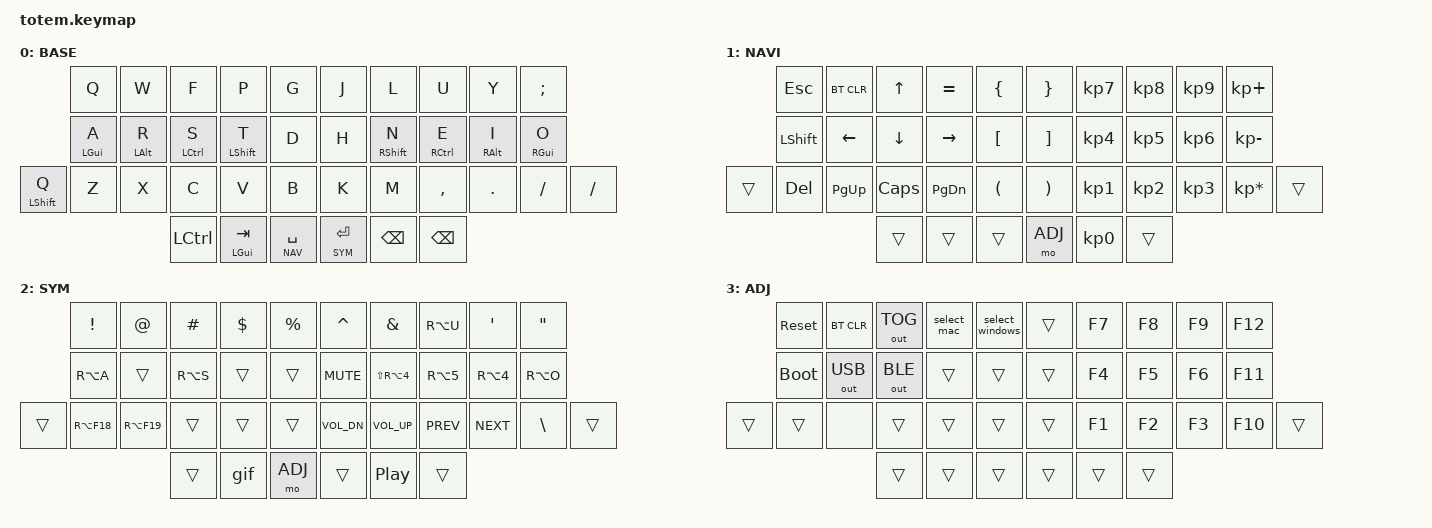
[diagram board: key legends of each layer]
//
//                                                        ▀▀▀▀▀     ▀▀▀▀▀          ▀▀█▀▀
//                                                        ▄▀▀▀▄  ▄  ▄▀▀▀▄  ▄  ▄▀▀▀▄  █  ▄▀▀▀▄
//                                                        █   █  █  █   █  █  █   █  █  █   █
//                                                         ▀▀▀   █   ▀▀▀   █   ▀▀▀   ▀   ▀▀▀
//                                                               █      ▄▄▄█▄▄▄    █   █  
//                                                               ▀      █  █  █     █▄█
//                                                             ▀▀▀▀▀    █  █  █      ▀
//                                                                      ▀  ▀  ▀
//
// ▄▄▄▄▄▄▄▄▄▄▄▄▄▄▄▄▄▄▄▄▄▄▄▄▄▄▄▄▄▄▄▄▄▄▄▄▄▄▄▄▄▄▄▄▄▄▄▄▄▄▄▄▄▄▄▄▄▄▄▄▄▄▄▄▄▄▄▄▄▄▄▄▄▄▄▄▄▄▄▄▄▄▄▄▄▄▄▄▄▄▄▄▄▄▄▄▄▄▄▄▄▄▄▄▄▄▄▄▄▄▄▄▄▄▄▄▄▄▄▄▄▄▄▄▄▄▄▄▄▄▄▄▄▄▄▄▄▄▄▄▄▄▄▄▄▄▄▄▄
       

#include <behaviors.dtsi>
#include <dt-bindings/zmk/keys.h>
#include <dt-bindings/zmk/bt.h>
#include <dt-bindings/zmk/outputs.h>

#define BASE 0
#define NAV  1
#define SYM  2
#define ADJ  3

&mt {
  quick-tap-ms = <100>;
  global-quick-tap;
  flavor = "tap-preferred";
  tapping-term-ms = <170>;
};

/ {
    combos {
        compatible = "zmk,combos";
        combo_esc {
        timeout-ms = <50>;
        key-positions = <0 1>;
        bindings = <&kp ESC>;
        };
        combo_ctrl_adj {
                timeout-ms = <250>;
                key-positions = <9 32>;
                layers = <BASE>;
                slow-release;
                bindings = <&mo ADJ>;
        };
    };

    macros {
        gif: gif {
            label = "giphy";
            compatible = "zmk,behavior-macro";
            #binding-cells = <0>;
            bindings
                = <&macro_press &kp LSHFT>
                , <&macro_tap &kp N2>
                , <&macro_release &kp LSHFT>
                , <&macro_tap &kp G &kp I &kp F>
                ;
        };

                select_mac: select_mac {
                        label = "Select Mac profile";
                        compatible = "zmk,behavior-macro";
                        #binding-cells = <0>;
                        wait-ms = <40>;
                        tap-ms = <40>;
                        bindings = <&macro_tap &kp M &kp A &kp C &kp SPACE &kp P &kp R &kp O &kp F &kp I &kp L &kp E &kp SPACE &kp S &kp E &kp L &kp E &kp C &kp T &kp E &kp D>
                                         , <&macro_tap &bt BT_SEL 0>;
                };

                select_windows: select_windows {
                        label = "Select Windows profile";
                        compatible = "zmk,behavior-macro";
                        #binding-cells = <0>;
                        wait-ms = <40>;
                        tap-ms = <40>;
                        bindings = <&macro_tap &kp W &kp I &kp N &kp D &kp O &kp W &kp S &kp SPACE &kp P &kp R &kp O &kp F &kp I &kp L &kp E &kp SPACE &kp S &kp E &kp L &kp E &kp C &kp T &kp E &kp D>
                                         , <&macro_tap &bt BT_SEL 1>;
                };
    };

        keymap {
                compatible = "zmk,keymap";
// ▄▄▄▄▄▄▄▄▄▄▄▄▄▄▄▄▄▄▄▄▄▄▄▄▄▄▄▄▄▄▄▄▄▄▄▄▄▄▄▄▄▄▄▄▄▄▄▄▄▄▄▄▄▄▄▄▄▄▄▄▄▄▄▄▄▄▄▄▄▄▄▄▄▄▄▄▄▄▄▄▄▄▄▄▄▄▄▄▄▄▄▄▄▄▄▄▄▄▄▄▄▄▄▄▄▄▄▄▄▄▄▄▄▄▄▄▄▄▄▄▄▄▄▄▄▄▄▄▄▄▄▄▄▄▄▄▄▄▄▄▄▄▄▄▄▄▄▄▄

                base_layer {
// ┏━━━━━━━━━━━━━━━━━━━━━━━━━━━━━━━━━━━━━━━┓
label= "BASE"                              ;
// ┗━━━━━━━━━━━━━━━━━━━━━━━━━━━━━━━━━━━━━━━┛
//             ┏━━━━━━━━━━━┳━━━━━━━━━━━┳━━━━━━━━━━━┳━━━━━━━━━━━┳━━━━━━━━━━━┓   ┏━━━━━━━━━━━┳━━━━━━━━━━━┳━━━━━━━━━━━┳━━━━━━━━━━━┳━━━━━━━━━━━┓
//             ┃     Q     ┃     W     ┃     F     ┃     P     ┃     G     ┃   ┃     J     ┃     L     ┃     U     ┃     Y     ┃     ;     ┃
//             ┣━━━━━━━━━━━╋━━━━━━━━━━━╋━━━━━━━━━━━╋━━━━━━━━━━━╋━━━━━━━━━━━┫   ┣━━━━━━━━━━━╋━━━━━━━━━━━╋━━━━━━━━━━━╋━━━━━━━━━━━╋━━━━━━━━━━━┫
//             ┃  A/LGUI   ┃  R/LALT   ┃  S/LCTRL  ┃ T/LSHFT   ┃     D     ┃   ┃     H     ┃ N/RSHFT   ┃ E/RCTRL   ┃  I/RALT   ┃  O/RGUI   ┃
// ┏━━━━━━━━━━━╋━━━━━━━━━━━╋━━━━━━━━━━━╋━━━━━━━━━━━╋━━━━━━━━━━━╋━━━━━━━━━━━┫   ┣━━━━━━━━━━━╋━━━━━━━━━━━╋━━━━━━━━━━━╋━━━━━━━━━━━╋━━━━━━━━━━━╋━━━━━━━━━━━┓
// ┃ Q/LSHFT   ┃     Z     ┃     X     ┃     C     ┃     V     ┃     B     ┃   ┃     K     ┃     M     ┃     ,     ┃     .     ┃     /     ┃     /     ┃
// ┗━━━━━━━━━━━┻━━━━━━━━━━━┻━━━━━━━━━━━╋━━━━━━━━━━━╋━━━━━━━━━━━╋━━━━━━━━━━━┫   ┣━━━━━━━━━━━╋━━━━━━━━━━━╋━━━━━━━━━━━╋━━━━━━━━━━━┻━━━━━━━━━━━┻━━━━━━━━━━━┛
//                                     ┃    CTRL   ┃  TAB/CMD  ┃  SPC/NAV  ┃   ┃  RET/SYM  ┃   BSPC    ┃   BSPC    ┃
//                                     ┗━━━━━━━━━━━┻━━━━━━━━━━━┻━━━━━━━━━━━┛   ┗━━━━━━━━━━━┻━━━━━━━━━━━┻━━━━━━━━━━━┛
 bindings = <
// ╷           ╷           ╷           ╷           ╷           ╷           ╷   ╷           ╷           ╷           ╷           ╷           ╷           ╷

                &kp Q       &kp W       &kp F       &kp P       &kp G           &kp J       &kp L       &kp U       &kp Y       &kp SEMI
                &mt LGUI A  &mt LALT R  &mt LCTRL S &mt LSHFT T &kp D           &kp H       &mt RSHFT N &mt RCTRL E &mt RALT I  &mt RGUI O
    &mt LSHFT Q &kp Z       &kp X       &kp C       &kp V       &kp B           &kp K       &kp M       &kp COMMA   &kp DOT     &kp FSLH    &kp FSLH
                                        &kp LCTRL   &mt LGUI TAB &lt NAV SPACE   &lt SYM RET &kp BSPC    &kp BSPC
                        >;
                };

// ▄▄▄▄▄▄▄▄▄▄▄▄▄▄▄▄▄▄▄▄▄▄▄▄▄▄▄▄▄▄▄▄▄▄▄▄▄▄▄▄▄▄▄▄▄▄▄▄▄▄▄▄▄▄▄▄▄▄▄▄▄▄▄▄▄▄▄▄▄▄▄▄▄▄▄▄▄▄▄▄▄▄▄▄▄▄▄▄▄▄▄▄▄▄▄▄▄▄▄▄▄▄▄▄▄▄▄▄▄▄▄▄▄▄▄▄▄▄▄▄▄▄▄▄▄▄▄▄▄▄▄▄▄▄▄▄▄▄▄▄▄▄▄▄▄▄▄▄▄


                nav_layer {
// ┏━━━━━━━━━━━━━━━━━━━━━━━━━━━━━━━━━━━━━━━┓
label= "NAVI"                              ;
// ┗━━━━━━━━━━━━━━━━━━━━━━━━━━━━━━━━━━━━━━━┛
//             ┏━━━━━━━━━━━┳━━━━━━━━━━━┳━━━━━━━━━━━┳━━━━━━━━━━━┳━━━━━━━━━━━┓   ┏━━━━━━━━━━━┳━━━━━━━━━━━┳━━━━━━━━━━━┳━━━━━━━━━━━┳━━━━━━━━━━━┓
//             ┃           ┃           ┃     UP    ┃           ┃     {     ┃   ┃     }     ┃     7     ┃     8     ┃     9     ┃     +     ┃
//             ┣━━━━━━━━━━━╋━━━━━━━━━━━╋━━━━━━━━━━━╋━━━━━━━━━━━╋━━━━━━━━━━━┫   ┣━━━━━━━━━━━╋━━━━━━━━━━━╋━━━━━━━━━━━╋━━━━━━━━━━━╋━━━━━━━━━━━┫
//             ┃   SHIFT   ┃   LEFT    ┃    DOWN   ┃   RIGHT   ┃     [     ┃   ┃     ]     ┃     4     ┃     5     ┃     6     ┃     -     ┃
// ┏━━━━━━━━━━━╋━━━━━━━━━━━╋━━━━━━━━━━━╋━━━━━━━━━━━╋━━━━━━━━━━━╋━━━━━━━━━━━┫   ┣━━━━━━━━━━━╋━━━━━━━━━━━╋━━━━━━━━━━━╋━━━━━━━━━━━╋━━━━━━━━━━━╋━━━━━━━━━━━┓
// ┃           ┃           ┃   P UP    ┃  C LOCK   ┃  P DOWN   ┃     (     ┃   ┃     )     ┃     1     ┃     2     ┃     3     ┃     *     ┃           ┃
// ┗━━━━━━━━━━━┻━━━━━━━━━━━┻━━━━━━━━━━━╋━━━━━━━━━━━╋━━━━━━━━━━━╋━━━━━━━━━━━┫   ┣━━━━━━━━━━━╋━━━━━━━━━━━╋━━━━━━━━━━━╋━━━━━━━━━━━┻━━━━━━━━━━━┻━━━━━━━━━━━┛
//                                     ┃           ┃    TAB    ┃    SPC    ┃   ┃    DEL    ┃     0     ┃           ┃
//                                     ┗━━━━━━━━━━━┻━━━━━━━━━━━┻━━━━━━━━━━━┛   ┗━━━━━━━━━━━┻━━━━━━━━━━━┻━━━━━━━━━━━┛
 bindings = <
// ╷           ╷           ╷           ╷           ╷           ╷           ╷   ╷           ╷           ╷           ╷           ╷           ╷           ╷

                &kp ESC     &bt BT_CLR  &kp UP      &kp EQUAL   &kp LBRC        &kp RBRC    &kp KP_N7   &kp KP_N8   &kp KP_N9   &kp KP_PLUS
                &kp LSHFT   &kp LEFT    &kp DOWN    &kp RIGHT   &kp LBKT        &kp RBKT    &kp KP_N4   &kp KP_N5   &kp KP_N6   &kp KP_MINUS
    &trans      &kp DEL     &kp PG_UP   &kp CAPS    &kp PG_DN   &kp LPAR        &kp RPAR    &kp KP_N1   &kp KP_N2   &kp KP_N3   &kp KP_MULTIPLY &trans      
                                        &trans      &trans      &trans          &mo ADJ     &kp KP_N0   &trans      
                        >;
                };

// ▄▄▄▄▄▄▄▄▄▄▄▄▄▄▄▄▄▄▄▄▄▄▄▄▄▄▄▄▄▄▄▄▄▄▄▄▄▄▄▄▄▄▄▄▄▄▄▄▄▄▄▄▄▄▄▄▄▄▄▄▄▄▄▄▄▄▄▄▄▄▄▄▄▄▄▄▄▄▄▄▄▄▄▄▄▄▄▄▄▄▄▄▄▄▄▄▄▄▄▄▄▄▄▄▄▄▄▄▄▄▄▄▄▄▄▄▄▄▄▄▄▄▄▄▄▄▄▄▄▄▄▄▄▄▄▄▄▄▄▄▄▄▄▄▄▄▄▄▄


                sim_layer {
// ┏━━━━━━━━━━━━━━━━━━━━━━━━━━━━━━━━━━━━━━━┓
label= "SYM"                               ;
// ┗━━━━━━━━━━━━━━━━━━━━━━━━━━━━━━━━━━━━━━━┛
//             ┏━━━━━━━━━━━┳━━━━━━━━━━━┳━━━━━━━━━━━┳━━━━━━━━━━━┳━━━━━━━━━━━┓   ┏━━━━━━━━━━━┳━━━━━━━━━━━┳━━━━━━━━━━━┳━━━━━━━━━━━┳━━━━━━━━━━━┓
//             ┃     !     ┃     @     ┃     #     ┃     $     ┃     %     ┃   ┃     ˆ     ┃     &     ┃     Ü     ┃     '     ┃     "     ┃
//             ┣━━━━━━━━━━━╋━━━━━━━━━━━╋━━━━━━━━━━━╋━━━━━━━━━━━╋━━━━━━━━━━━┫   ┣━━━━━━━━━━━╋━━━━━━━━━━━╋━━━━━━━━━━━╋━━━━━━━━━━━╋━━━━━━━━━━━┫
//             ┃     Ä     ┃           ┃    SZ     ┃           ┃           ┃   ┃   MUTE    ┃   YEN     ┃   EURO    ┃  POUND    ┃     Ö     ┃
// ┏━━━━━━━━━━━╋━━━━━━━━━━━╋━━━━━━━━━━━╋━━━━━━━━━━━╋━━━━━━━━━━━╋━━━━━━━━━━━┫   ┣━━━━━━━━━━━╋━━━━━━━━━━━╋━━━━━━━━━━━╋━━━━━━━━━━━╋━━━━━━━━━━━╋━━━━━━━━━━━┓
// ┃           ┃  EMAIL1   ┃  EMAIL2   ┃           ┃           ┃           ┃   ┃   VOL-    ┃   VOL+    ┃   LAST    ┃   NEXT    ┃     \     ┃           ┃
// ┗━━━━━━━━━━━┻━━━━━━━━━━━┻━━━━━━━━━━━╋━━━━━━━━━━━╋━━━━━━━━━━━╋━━━━━━━━━━━┫   ┣━━━━━━━━━━━╋━━━━━━━━━━━╋━━━━━━━━━━━╋━━━━━━━━━━━┻━━━━━━━━━━━┻━━━━━━━━━━━┛
//                                     ┃           ┃    GIF    ┃    ADJ    ┃   ┃           ┃           ┃           ┃
//                                     ┗━━━━━━━━━━━┻━━━━━━━━━━━┻━━━━━━━━━━━┛   ┗━━━━━━━━━━━┻━━━━━━━━━━━┻━━━━━━━━━━━┛
 bindings = <
// ╷           ╷           ╷           ╷           ╷           ╷           ╷   ╷           ╷           ╷           ╷           ╷           ╷           ╷

                &kp EXCL    &kp AT      &kp HASH    &kp DLLR    &kp PRCNT       &kp CARET   &kp AMPS    &kp RA(U)   &kp SQT     &kp DQT       
                &kp RA(A)   &trans      &kp RA(S)   &trans      &trans          &kp C_MUTE  &kp LS(RA(N4)) &kp RA(N5) &kp RA(N4)   &kp RA(O) 
    &trans      &kp RA(F18) &kp RA(F19) &trans      &trans      &trans          &kp C_VOL_DN &kp C_VOL_UP &kp C_PREV &kp C_NEXT  &kp BSLH   &trans         
                                        &trans      &gif        &mo ADJ         &trans      &kp C_PP    &trans      
                        >;
                };

// ▄▄▄▄▄▄▄▄▄▄▄▄▄▄▄▄▄▄▄▄▄▄▄▄▄▄▄▄▄▄▄▄▄▄▄▄▄▄▄▄▄▄▄▄▄▄▄▄▄▄▄▄▄▄▄▄▄▄▄▄▄▄▄▄▄▄▄▄▄▄▄▄▄▄▄▄▄▄▄▄▄▄▄▄▄▄▄▄▄▄▄▄▄▄▄▄▄▄▄▄▄▄▄▄▄▄▄▄▄▄▄▄▄▄▄▄▄▄▄▄▄▄▄▄▄▄▄▄▄▄▄▄▄▄▄▄▄▄▄▄▄▄▄▄▄▄▄▄▄


                adjust_layer {
// ┏━━━━━━━━━━━━━━━━━━━━━━━━━━━━━━━━━━━━━━━┓
label= "ADJ"                               ;
// ┗━━━━━━━━━━━━━━━━━━━━━━━━━━━━━━━━━━━━━━━┛
//             ┏━━━━━━━━━━━┳━━━━━━━━━━━┳━━━━━━━━━━━┳━━━━━━━━━━━┳━━━━━━━━━━━┓   ┏━━━━━━━━━━━┳━━━━━━━━━━━┳━━━━━━━━━━━┳━━━━━━━━━━━┳━━━━━━━━━━━┓
//             ┃   RESET   ┃ BT CLEAR  ┃  OUT TOG  ┃  MAC P1   ┃  WIN P2   ┃   ┃           ┃    F7     ┃    F8     ┃    F9     ┃    F12    ┃
//             ┣━━━━━━━━━━━╋━━━━━━━━━━━╋━━━━━━━━━━━╋━━━━━━━━━━━╋━━━━━━━━━━━┫   ┣━━━━━━━━━━━╋━━━━━━━━━━━╋━━━━━━━━━━━╋━━━━━━━━━━━╋━━━━━━━━━━━┫
//             ┃ BOOTLOAD  ┃  OUT USB  ┃  OUT BLE  ┃           ┃           ┃   ┃           ┃    F4     ┃    F5     ┃    F6     ┃    F11    ┃
// ┏━━━━━━━━━━━╋━━━━━━━━━━━╋━━━━━━━━━━━╋━━━━━━━━━━━╋━━━━━━━━━━━╋━━━━━━━━━━━┫   ┣━━━━━━━━━━━╋━━━━━━━━━━━╋━━━━━━━━━━━╋━━━━━━━━━━━╋━━━━━━━━━━━╋━━━━━━━━━━━┓
// ┃           ┃           ┃           ┃           ┃           ┃           ┃   ┃           ┃    F1     ┃    F2     ┃    F3     ┃    F10    ┃           ┃
// ┗━━━━━━━━━━━┻━━━━━━━━━━━┻━━━━━━━━━━━╋━━━━━━━━━━━╋━━━━━━━━━━━╋━━━━━━━━━━━┫   ┣━━━━━━━━━━━╋━━━━━━━━━━━╋━━━━━━━━━━━╋━━━━━━━━━━━┻━━━━━━━━━━━┻━━━━━━━━━━━┛
//                                     ┃           ┃           ┃           ┃   ┃           ┃           ┃           ┃
//                                     ┗━━━━━━━━━━━┻━━━━━━━━━━━┻━━━━━━━━━━━┛   ┗━━━━━━━━━━━┻━━━━━━━━━━━┻━━━━━━━━━━━┛
 bindings = <
// ╷           ╷           ╷           ╷           ╷           ╷           ╷   ╷           ╷           ╷           ╷           ╷           ╷           ╷

                &sys_reset  &bt BT_CLR &out OUT_TOG &select_mac &select_windows &trans     &kp F7      &kp F8      &kp F9      &kp F12
                &bootloader &out OUT_USB &out OUT_BLE &trans   &trans          &trans      &kp F4      &kp F5      &kp F6      &kp F11  
    &trans      &trans      &none      &trans      &trans      &trans          &trans      &kp F1      &kp F2      &kp F3      &kp F10     &trans         
                                        &trans      &trans      &trans          &trans      &trans      &trans      
                        >;
                };
        };
};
